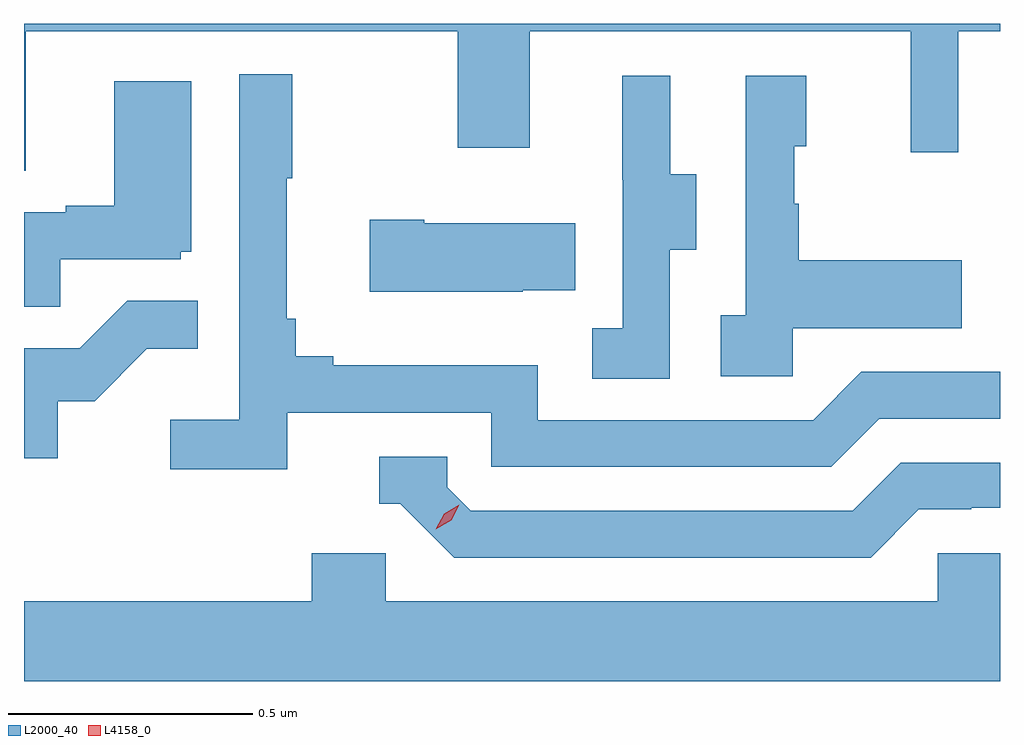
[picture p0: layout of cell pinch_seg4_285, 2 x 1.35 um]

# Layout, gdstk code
import gdstk
lib = gdstk.Library(unit=1e-6, precision=1e-09)
def P(c, l, *ps):  # polygons
    for p in ps: c.add(gdstk.Polygon(p, *l))
L2000_40 = (2000, 40)
L4158_0 = (4158, 0)

pinch_seg4_285 = lib.new_cell('pinch_seg4_285')
P(pinch_seg4_285, L2000_40, [(938.389,832.784),(939.274,832.784),(939.274,832.545),(939.421,832.545),(939.421,832.784),(940.202,832.784),(940.202,832.536),(940.299,832.536),(940.299,832.784),(940.385,832.784),(940.385,832.799),(938.385,832.799),(938.385,832.498),(938.389,832.498)],
  [(938.924,832.002),(939.342,832.002),(939.342,831.891),(940.039,831.891),(940.138,831.99),(940.385,831.99),(940.385,832.086),(940.101,832.086),(940.002,831.987),(939.438,831.987),(939.438,832.099),(939.019,832.099),(939.019,832.118),(938.942,832.118),(938.942,832.195),(938.923,832.195),(938.923,832.483),(938.935,832.483),(938.935,832.696),(938.826,832.696),(938.826,831.988),(938.685,831.988),(938.685,831.886),(938.924,831.886)],
  [(939.708,832.336),(939.763,832.336),(939.763,832.491),(939.709,832.491),(939.709,832.693),(939.611,832.693),(939.611,832.479),(939.612,832.479),(939.612,832.175),(939.549,832.175),(939.549,832.072),(939.708,832.072)],
  [(939.96,832.175),(940.307,832.175),(940.307,832.315),(939.973,832.315),(939.973,832.43),(939.963,832.43),(939.963,832.548),(939.988,832.548),(939.988,832.693),(939.864,832.693),(939.864,832.202),(939.813,832.202),(939.813,832.077),(939.96,832.077)],
  [(938.459,832.317),(938.706,832.317),(938.706,832.332),(938.728,832.332),(938.728,832.681),(938.57,832.681),(938.57,832.426),(938.471,832.426),(938.471,832.413),(938.385,832.413),(938.385,832.219),(938.459,832.219)],
  [(939.407,832.253),(939.515,832.253),(939.515,832.39),(939.205,832.39),(939.205,832.398),(939.093,832.398),(939.093,832.25),(939.407,832.25)],
  [(938.454,832.026),(938.53,832.026),(938.637,832.133),(938.741,832.133),(938.741,832.232),(938.597,832.232),(938.499,832.134),(938.385,832.134),(938.385,831.909),(938.454,831.909)],
  [(940.219,831.804),(940.326,831.804),(940.326,831.807),(940.385,831.807),(940.385,831.9),(940.182,831.9),(940.083,831.801),(939.3,831.801),(939.252,831.849),(939.252,831.912),(939.113,831.912),(939.113,831.816),(939.156,831.816),(939.267,831.705),(940.12,831.705)],
  [(940.385,831.714),(940.257,831.714),(940.257,831.616),(939.126,831.616),(939.126,831.714),(938.975,831.714),(938.975,831.616),(938.385,831.616),(938.385,831.452),(940.385,831.452)])
P(pinch_seg4_285, L4158_0, [(939.229,831.763),(939.229,831.763),(939.246,831.795),(939.277,831.814),(939.277,831.814),(939.277,831.814),(939.26,831.782),(939.229,831.763)])

lib.write_gds('pinch_seg4_285.gds')
